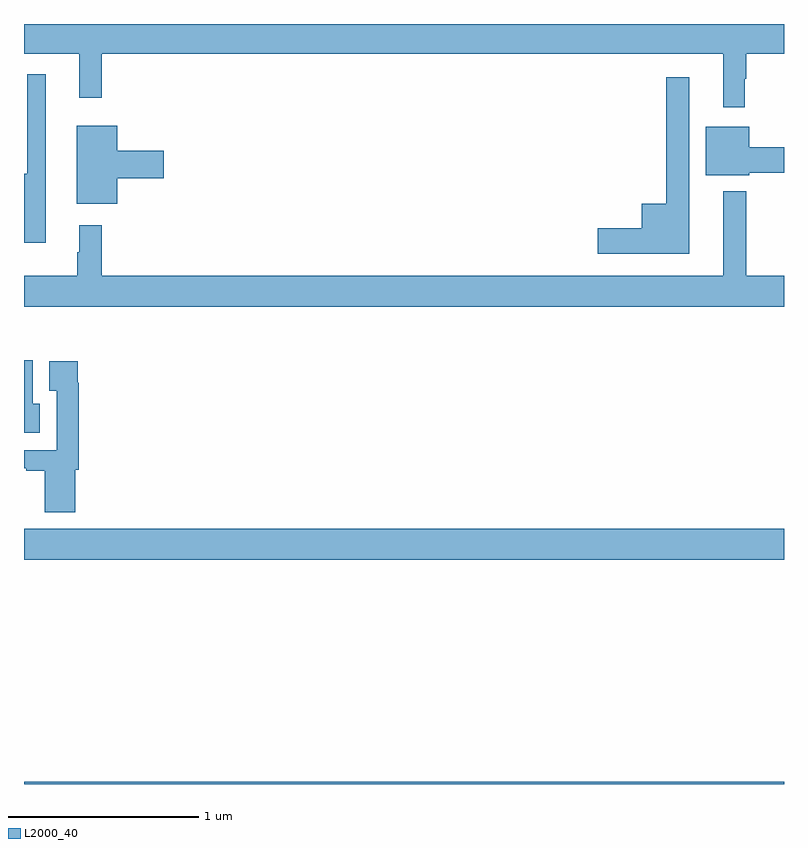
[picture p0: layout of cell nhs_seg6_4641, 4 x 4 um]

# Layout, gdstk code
import gdstk
lib = gdstk.Library(unit=1e-6, precision=1e-09)
def R(c, l, rs):  # rectangles x0, y0, x1, y1
    for r in rs: c.add(gdstk.rectangle(r[:2], r[2:], *l))
def P(c, l, *ps):  # polygons
    for p in ps: c.add(gdstk.Polygon(p, *l))
L2000_40 = (2000, 40)

nhs_seg6_4641 = lib.new_cell('nhs_seg6_4641')
R(nhs_seg6_4641, L2000_40, [(385,935.5,389,935.512), (385,936.68,389,936.844)])
P(nhs_seg6_4641, L2000_40, [(388.793,939.212),(388.801,939.212),(388.801,939.344),(389,939.344),(389,939.5),(385,939.5),(385,939.344),(385.292,939.344),(385.292,939.111),(385.409,939.111),(385.409,939.344),(388.679,939.344),(388.679,939.063),(388.793,939.063)],
  [(385.114,939.235),(385.017,939.235),(385.017,938.713),(385,938.713),(385,938.348),(385.114,938.348)],
  [(388.501,939.22),(388.38,939.22),(388.38,938.554),(388.25,938.554),(388.25,938.426),(388.02,938.426),(388.02,938.291),(388.501,938.291)],
  [(385.492,938.687),(385.735,938.687),(385.735,938.834),(385.492,938.834),(385.492,938.965),(385.277,938.965),(385.277,938.555),(385.492,938.555)],
  [(388.816,938.716),(389,938.716),(389,938.852),(388.816,938.852),(388.816,938.959),(388.589,938.959),(388.589,938.705),(388.816,938.705)],
  [(389,938.176),(388.801,938.176),(388.801,938.62),(388.679,938.62),(388.679,938.176),(385.409,938.176),(385.409,938.44),(385.292,938.44),(385.292,938.3),(385.281,938.3),(385.281,938.176),(385,938.176),(385,938.012),(389,938.012)],
  [(385.084,937.502),(385.045,937.502),(385.045,937.729),(385,937.729),(385,937.349),(385.084,937.349)],
  [(385.27,937.154),(385.289,937.154),(385.289,937.613),(385.282,937.613),(385.282,937.726),(385.133,937.726),(385.133,937.57),(385.173,937.57),(385.173,937.257),(385,937.257),(385,937.161),(385.013,937.161),(385.013,937.149),(385.109,937.149),(385.109,936.93),(385.27,936.93)])

lib.write_gds('nhs_seg6_4641.gds')
